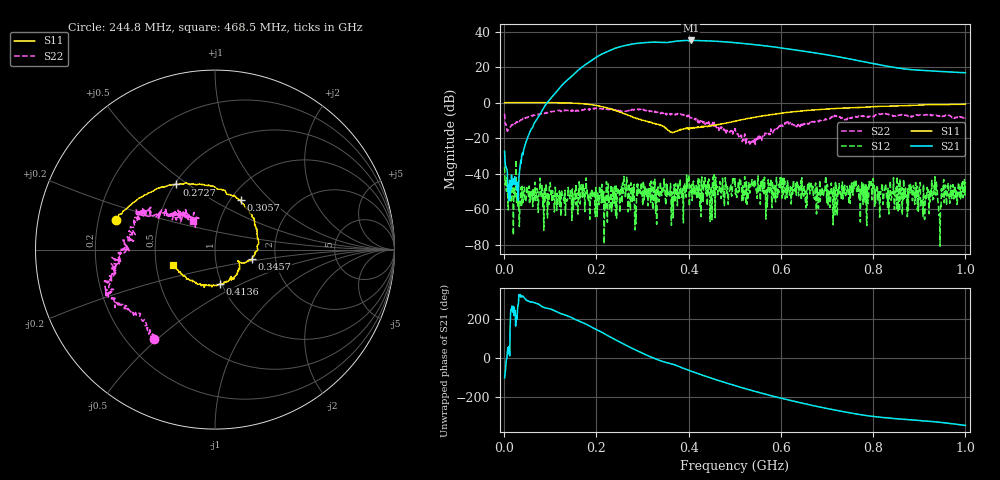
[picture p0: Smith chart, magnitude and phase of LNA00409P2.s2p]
! Created with skrf 1.9.0 (http://scikit-rf.org).
# Hz S RI R 50.0
!freq ReS11 ImS11 ReS21 ImS21 ReS12 ImS12 ReS22 ImS22
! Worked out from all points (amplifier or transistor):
!   1001 points, 1 MHz to 1 GHz, reference 50 ohm
!   highest |S21| = 35.0 dB at 404.6 MHz (marker M1)
!   |S21| within 3 dB of that: 259.9 MHz to 564.6 MHz (304.7 MHz wide, 73.9 % of centre)
!   unconditionally stable (mu >= 1): 3.657 MHz to 57.66 MHz; 326.7 MHz to 395.6 MHz; 400.6 MHz to end of sweep (the widest 3 of 40)
!   at 166.8 MHz: K = 0.95, MSG = 32.9 dB, |S12| = -46.2 dB
!   at 500.5 MHz: K = 1.43, MAG = 34.4 dB, |S12| = -42.8 dB
!   at 1 GHz: K = 2.33, MAG = 24.4 dB, |S12| = -44.8 dB
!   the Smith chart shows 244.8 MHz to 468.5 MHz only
!   S11 on the Smith chart (normalised r, x): 244.8 MHz: 0.27, +0.14; 272.7 MHz: 0.51, +0.45; 305.7 MHz: 1.12, +0.68; 345.7 MHz: 1.51, -0.16; 413.6 MHz: 0.98, -0.39; 468.5 MHz: 0.61, -0.12
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1000000  0.9909 0.0104  -0.00806 -0.0416  -0.0138 0.00642  0.3606 0.329
1.08892e8  0.5194 -0.8489  -0.8093 -1.514  -0.000791 0.000256  0.4107 -0.383
1.67833e8  -0.2344 -0.9025  -9.783 -0.5358  -0.0043 -0.00141  0.0322 -0.623
2.1079e8  -0.681 -0.3756  -15.43 16.9  0.00133 -0.000714  -0.2291 -0.6364
2.44756e8  -0.554 0.1662  0.589 35.4  -0.000871 -0.00168  -0.3376 -0.4969
2.72728e8  -0.215 0.3629  24.86 35.69  -0.00103 -0.00116  -0.5445 -0.3032
3.05695e8  0.1427 0.2749  46.19 15.24  -0.00142 0.00396  -0.5706 -0.1726
3.34666e8  0.2425 0.0305  49.27 -9.065  -0.000706 0.00358  -0.5157 -0.0138
3.45655e8  0.2051 -0.0511  46.44 -16.31  0.000106 0.00347  -0.5044 0.0242
3.75625e8  0.1354 -0.0812  41.36 -35.21  0.000647 0.00107  -0.4262 0.2006
4.04596e8  0.0625 -0.1768  22.25 -51.65  0.00293 0.00113  -0.3301 0.1793
4.13587e8  0.0269 -0.1917  15.25 -53.84  -0.00193 0.00269  -0.2831 0.219
4.39561e8  -0.1073 -0.1822  -5.123 -54.49  0.003 -0.000245  -0.1766 0.2105
4.68532e8  -0.2326 -0.0882  -24.41 -46.41  0.00431 0.00335  -0.1233 0.1596
5.005e8  -0.2875 0.072  -38.16 -30.81  -0.00711 0.00117  -0.1154 0.1468
5.4046e8  -0.2423 0.2966  -42.18 -8.962  0.00467 0.000519  -0.0865 0.00935
5.88412e8  -0.0605 0.4718  -34.52 11.42  3.93e-05 -0.00161  -0.1752 -0.0682
6.27373e8  0.1191 0.5391  -23.68 19.79  0.00508 -0.00421  -0.2194 -0.0934
6.67333e8  0.3135 0.5309  -12.13 22.65  -0.000666 -0.00447  -0.2933 -0.0134
7.46254e8  0.5877 0.3917  2.615 16.92  -0.00332 0.00167  -0.3376 0.0933
8.34166e8  0.7793 0.1607  6.184 8.34  -0.000643 -0.000349  -0.3851 0.2455
1e9  0.816 -0.3856  6.711 1.889  -0.00233 -0.00528  -0.0293 0.3757
